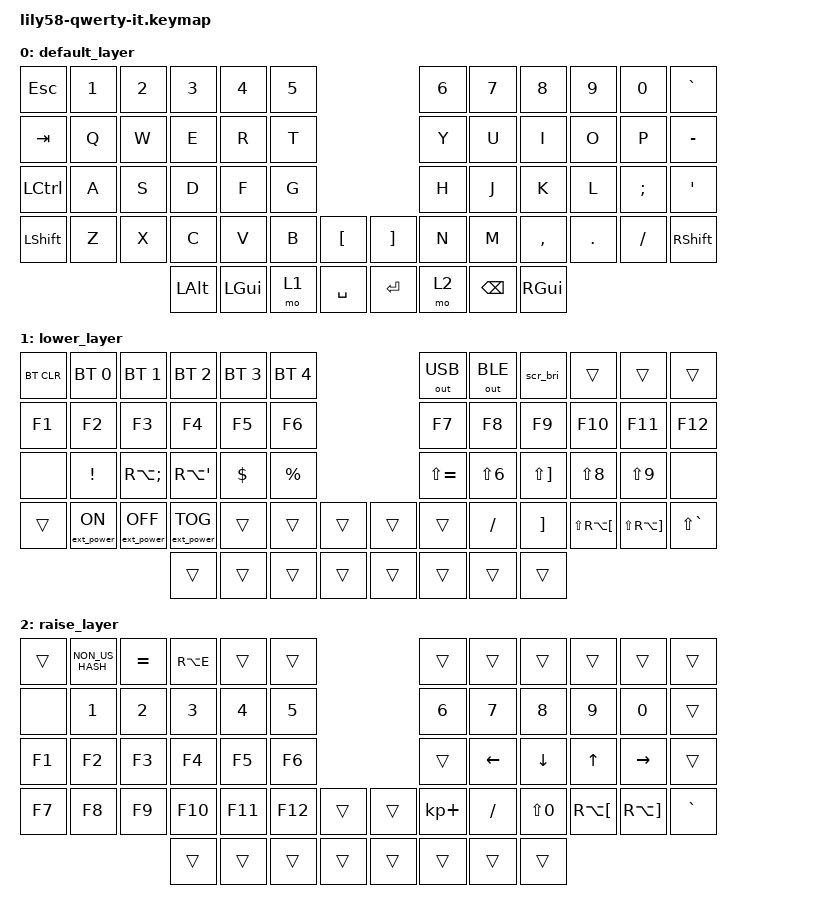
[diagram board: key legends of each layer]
// QWERTY (Italian) layout for the lily58, generated from the stock keymap.
// Layer 0 keys stay where they are (the computer's keyboard language decides what they type);
// the other layers type the same characters as the stock keymap. Extra keys:
//   layer 2, key 1: ù
//   layer 2, key 2: ì
//   layer 2, key 3: €
// Not on this layout, key left empty: layer 1, key 24 (`)
// Not on this layout, key left empty: layer 1, key 35 (~)
// Not on this layout, key left empty: layer 2, key 12 (`)
/*
 * Copyright (c) 2020 The ZMK Contributors
 *
 * SPDX-License-Identifier: MIT
 */

#include <behaviors.dtsi>
#include <dt-bindings/zmk/keys.h>
#include <dt-bindings/zmk/bt.h>
#include <dt-bindings/zmk/ext_power.h>
#include <dt-bindings/zmk/outputs.h>

// Wake-up key: top outer corner (Esc / `), row pin 5, column pin 19 on both halves.
#define TKL_WAKE_ROW 5
#define TKL_WAKE_COL 19
// Switch-off: Esc + left Shift held together.
#define TKL_OFF_KEYS 0 36
#include "tkl_power.dtsi"
#include "tkl_brightness.dtsi"

// Our Lily58 has no rotary encoder: disable the optional one that the ZMK lily58
// shield turns on. It lives here because ZMK reads the keymap after
// the shield files; a config .overlay is read before them and can't reach the node.
&left_encoder {
    status = "disabled";
};

/ {
    keymap {
        compatible = "zmk,keymap";

        default_layer {
            bindings = <
&kp ESC   &kp N1 &kp N2 &kp N3   &kp N4   &kp N5                     &kp N6 &kp N7   &kp N8    &kp N9  &kp N0   &kp GRAVE
&kp TAB   &kp Q  &kp W  &kp E    &kp R    &kp T                      &kp Y  &kp U    &kp I     &kp O   &kp P    &kp MINUS
&kp LCTRL &kp A  &kp S  &kp D    &kp F    &kp G                      &kp H  &kp J    &kp K     &kp L   &kp SEMI &kp SQT
&kp LSHFT &kp Z  &kp X  &kp C    &kp V    &kp B  &kp LBKT   &kp RBKT &kp N  &kp M    &kp COMMA &kp DOT &kp FSLH &kp RSHFT
                        &kp LALT &kp LGUI &mo 1  &kp SPACE  &kp RET  &mo 2  &kp BSPC &kp RGUI
            >;
        };

        lower_layer {
            bindings = <
&bt BT_CLR &bt BT_SEL 0     &bt BT_SEL 1      &bt BT_SEL 2      &bt BT_SEL 3 &bt BT_SEL 4                 &out OUT_USB &out OUT_BLE &scr_bri &trans  &trans    &trans
&kp F1     &kp F2           &kp F3            &kp F4            &kp F5       &kp F6                       &kp F7    &kp F8    &kp F9    &kp F10   &kp F11   &kp F12
&none      &kp EXCL         &kp RA(SEMI)            &kp RA(SQT)          &kp DOLLAR   &kp PRCNT                    &kp LS(EQUAL) &kp LS(N6)  &kp LS(RBKT) &kp LS(N8)  &kp LS(N9)  &none
&trans     &ext_power EP_ON &ext_power EP_OFF &ext_power EP_TOG &trans       &trans    &trans   &trans    &trans    &kp FSLH  &kp RBKT  &kp LS(RA(LBKT))  &kp LS(RA(RBKT))  &kp LS(GRAVE)
                                              &trans            &trans       &trans    &trans   &trans    &trans    &trans    &trans
            >;
        };

        raise_layer {
            bindings = <
&trans    &kp NON_US_HASH &kp EQUAL &kp RA(E)  &trans  &trans                       &trans      &trans    &trans    &trans   &trans    &trans
&none     &kp N1 &kp N2 &kp N3  &kp N4  &kp N5                       &kp N6      &kp N7    &kp N8    &kp N9   &kp N0    &trans
&kp F1    &kp F2 &kp F3 &kp F4  &kp F5  &kp F6                       &trans      &kp LEFT  &kp DOWN  &kp UP   &kp RIGHT &trans
&kp F7    &kp F8 &kp F9 &kp F10 &kp F11 &kp F12   &trans   &trans    &kp KP_PLUS &kp FSLH  &kp LS(N0) &kp RA(LBKT) &kp RA(RBKT)  &kp GRAVE
                        &trans  &trans  &trans    &trans   &trans    &trans      &trans    &trans
            >;
        };

        extra1 {
            status = "reserved";
        };

        extra2 {
            status = "reserved";
        };

        extra3 {
            status = "reserved";
        };
    };
};
